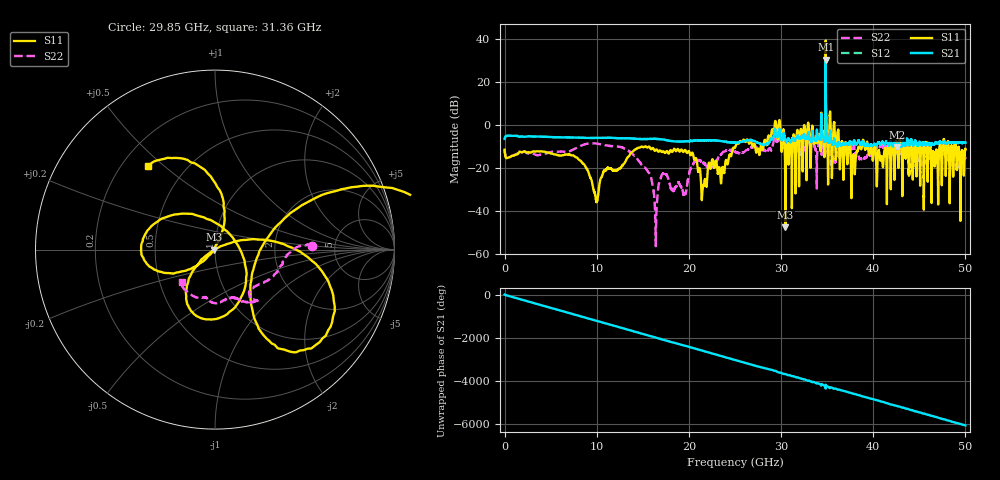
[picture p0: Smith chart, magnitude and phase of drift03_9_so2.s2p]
!Created with skrf (http://scikit-rf.org).
# Hz S RI R 50.0
!freq ReS11 ImS11 ReS21 ImS21 ReS12 ImS12 ReS22 ImS22
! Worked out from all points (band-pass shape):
!   10001 points, 300 kHz to 50 GHz, reference 50 ohm
!   highest |S21| = 30.30 dB at 34.85 GHz (marker M1); lowest = -10.4 dB at 42.56 GHz (marker M2)
!   |S21| within 3 dB of the highest: 34.84411 GHz to 34.84597 GHz (1.858 MHz wide, 0.00533 % of centre)
!   lowest |S11| = -47.4 dB at 30.47 GHz (marker M3), VSWR 1.01, Z = 49.6 + j0.0318 ohm
!   |S11| at or under -10 dB: start of sweep to 15.22 GHz; 15.31 GHz to 25.05 GHz (9.738 GHz wide, 48.2 % of centre); 40.22 GHz to 41.66 GHz (1.443 GHz wide, 3.52 % of centre) (the widest 3 of 57)
!   |S22| runs from -56.3 to 21.4 dB; largest |S21 - S12| = 4.6
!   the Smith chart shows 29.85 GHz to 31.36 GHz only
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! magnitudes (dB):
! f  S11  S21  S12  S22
! 300 kHz  -11.5  -6.5  -6.4  -11.4
! 8.335 GHz  -17.1  -6.0  -6.0  -9.6
! 9.955 GHz  -35.5  -6.1  -6.1  -8.7
! 11 GHz  -20.9  -6.0  -6.1  -9.5
! 15.5 GHz  -10.5  -6.6  -6.6  -21.3
! 16.37 GHz  -11.9  -6.5  -6.5  -46.5
! 16.67 GHz  -12.4  -6.5  -6.5  -29.2
! 17.32 GHz  -12.6  -6.9  -6.9  -22.9
! 19.54 GHz  -11.8  -7.7  -7.7  -32.2
! 20.21 GHz  -14.0  -7.5  -7.5  -20.1
! 21.55 GHz  -28.4  -7.2  -7.2  -17.6
! 25 GHz  -10.6  -8.3  -8.3  -12.5
! 29.6 GHz  -5.6  -5.7  -5.9  -7.8
! 30.47 GHz  -47.4  -7.2  -7.2  -9.1
! 33.34 GHz  -3.7  -7.0  -6.8  -9.4
! 34.85 GHz  39.1  30.3  30.1  21.4
! 35.63 GHz  -6.0  -9.3  -9.2  -15.7
! 37.82 GHz  -14.0  -8.4  -8.5  -10.2
! 39.08 GHz  -10.7  -9.5  -9.6  -15.3
! 41.67 GHz  -9.9  -9.5  -9.4  -11.4
! 42.56 GHz  -8.5  -10.4  -10.5  -13.0
! 50 GHz  -11.2  -8.2  -8.2  -15.4
